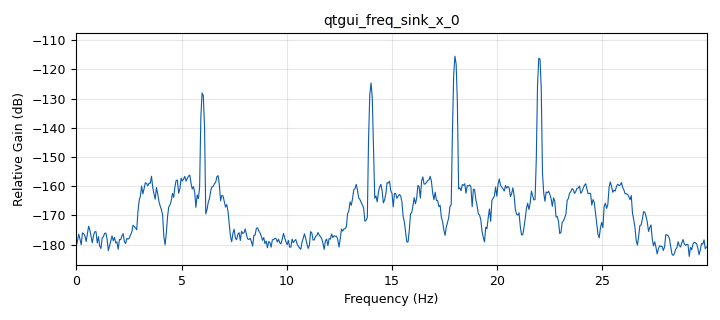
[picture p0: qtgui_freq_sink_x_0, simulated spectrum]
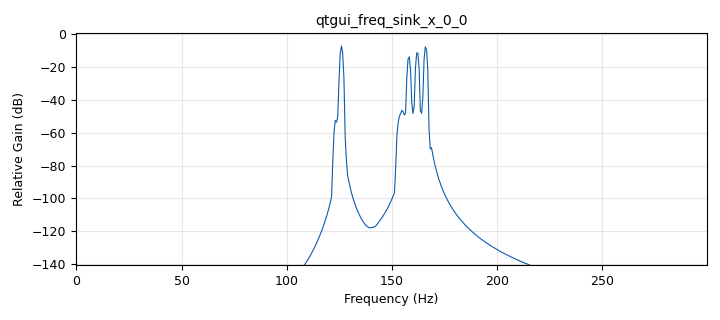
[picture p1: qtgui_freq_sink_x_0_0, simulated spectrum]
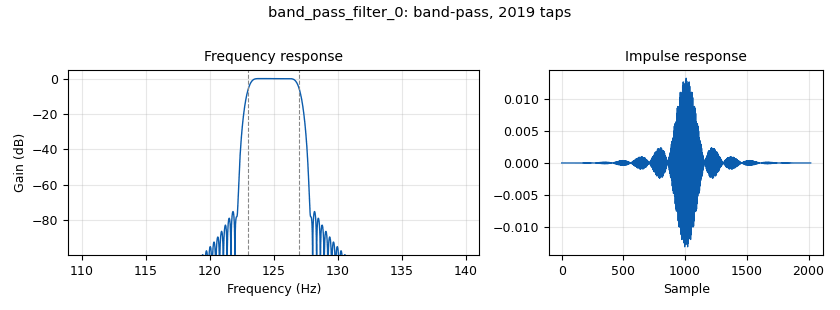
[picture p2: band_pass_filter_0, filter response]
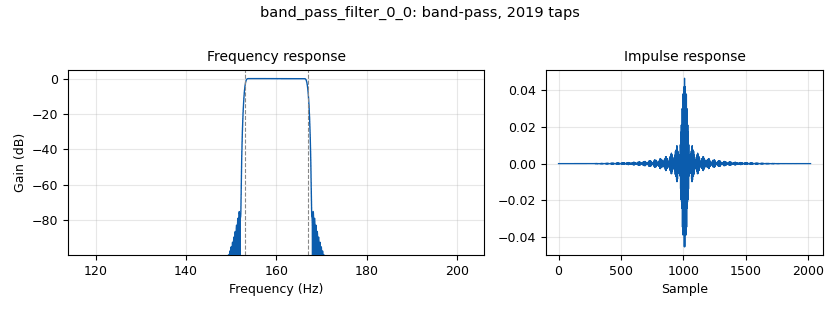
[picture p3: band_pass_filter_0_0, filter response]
<?xml version='1.0' encoding='utf-8'?>
<?grc format='1' created='3.7.13'?>
<flow_graph>
<block>
<key>options</key>
<param><key>id</key><value>top_block</value></param>
<param><key>generate_options</key><value>qt_gui</value></param>
</block>
<block>
<key>variable</key>
<param><key>id</key><value>new_fs</value></param>
<param><key>value</key><value>60</value></param>
</block>
<block>
<key>variable</key>
<param><key>id</key><value>samp_rate</value></param>
<param><key>value</key><value>600</value></param>
</block>
<block>
<key>analog_fastnoise_source_x</key>
<param><key>id</key><value>analog_fastnoise_source_x_0</value></param>
<param><key>amp</key><value>0.3</value></param>
<param><key>noise_type</key><value>analog.GR_GAUSSIAN</value></param>
<param><key>type</key><value>float</value></param>
<param><key>seed</key><value>0</value></param>
<param><key>samples</key><value>8192</value></param>
</block>
<block>
<key>analog_fastnoise_source_x</key>
<param><key>id</key><value>analog_fastnoise_source_x_0_0</value></param>
<param><key>amp</key><value>0.3</value></param>
<param><key>noise_type</key><value>analog.GR_GAUSSIAN</value></param>
<param><key>type</key><value>float</value></param>
<param><key>seed</key><value>0</value></param>
<param><key>samples</key><value>8192</value></param>
</block>
<block>
<key>analog_sig_source_x</key>
<param><key>id</key><value>analog_sig_source_x_0</value></param>
<param><key>amp</key><value>2</value></param>
<param><key>freq</key><value>166</value></param>
<param><key>offset</key><value>0</value></param>
<param><key>type</key><value>float</value></param>
<param><key>samp_rate</key><value>samp_rate</value></param>
<param><key>waveform</key><value>analog.GR_COS_WAVE</value></param>
</block>
<block>
<key>analog_sig_source_x</key>
<param><key>id</key><value>analog_sig_source_x_0_0</value></param>
<param><key>amp</key><value>2</value></param>
<param><key>freq</key><value>126</value></param>
<param><key>offset</key><value>0</value></param>
<param><key>type</key><value>float</value></param>
<param><key>samp_rate</key><value>samp_rate</value></param>
<param><key>waveform</key><value>analog.GR_COS_WAVE</value></param>
</block>
<block>
<key>analog_sig_source_x</key>
<param><key>id</key><value>analog_sig_source_x_0_1</value></param>
<param><key>amp</key><value>1.4</value></param>
<param><key>freq</key><value>162</value></param>
<param><key>offset</key><value>0</value></param>
<param><key>type</key><value>float</value></param>
<param><key>samp_rate</key><value>samp_rate</value></param>
<param><key>waveform</key><value>analog.GR_COS_WAVE</value></param>
</block>
<block>
<key>analog_sig_source_x</key>
<param><key>id</key><value>analog_sig_source_x_0_1_0</value></param>
<param><key>amp</key><value>1</value></param>
<param><key>freq</key><value>158</value></param>
<param><key>offset</key><value>0</value></param>
<param><key>type</key><value>float</value></param>
<param><key>samp_rate</key><value>samp_rate</value></param>
<param><key>waveform</key><value>analog.GR_COS_WAVE</value></param>
</block>
<block>
<key>band_pass_filter</key>
<param><key>id</key><value>band_pass_filter_0</value></param>
<param><key>decim</key><value>1</value></param>
<param><key>type</key><value>fir_filter_fff</value></param>
<param><key>gain</key><value>1</value></param>
<param><key>high_cutoff_freq</key><value>127</value></param>
<param><key>low_cutoff_freq</key><value>123</value></param>
<param><key>samp_rate</key><value>samp_rate</value></param>
<param><key>width</key><value>1</value></param>
<param><key>win</key><value>firdes.WIN_BLACKMAN</value></param>
</block>
<block>
<key>band_pass_filter</key>
<param><key>id</key><value>band_pass_filter_0_0</value></param>
<param><key>decim</key><value>1</value></param>
<param><key>type</key><value>fir_filter_fff</value></param>
<param><key>gain</key><value>1</value></param>
<param><key>high_cutoff_freq</key><value>167</value></param>
<param><key>low_cutoff_freq</key><value>153</value></param>
<param><key>samp_rate</key><value>samp_rate</value></param>
<param><key>width</key><value>1</value></param>
<param><key>win</key><value>firdes.WIN_BLACKMAN</value></param>
</block>
<block>
<key>blocks_add_xx</key>
<param><key>id</key><value>blocks_add_xx_0</value></param>
<param><key>type</key><value>float</value></param>
</block>
<block>
<key>blocks_add_xx</key>
<param><key>id</key><value>blocks_add_xx_0_0</value></param>
<param><key>type</key><value>float</value></param>
<param><key>num_inputs</key><value>4</value></param>
</block>
<block>
<key>blocks_add_xx</key>
<param><key>id</key><value>blocks_add_xx_0_0_0</value></param>
<param><key>type</key><value>float</value></param>
</block>
<block>
<key>qtgui_freq_sink_x</key>
<param><key>id</key><value>qtgui_freq_sink_x_0</value></param>
<param><key>autoscale</key><value>True</value></param>
<param><key>average</key><value>0.2</value></param>
<param><key>bw</key><value>new_fs</value></param>
<param><key>fc</key><value>0</value></param>
<param><key>fftsize</key><value>1024</value></param>
<param><key>showports</key><value>True</value></param>
<param><key>freqhalf</key><value>False</value></param>
<param><key>type</key><value>float</value></param>
<param><key>wintype</key><value>firdes.WIN_BLACKMAN</value></param>
</block>
<block>
<key>qtgui_freq_sink_x</key>
<param><key>id</key><value>qtgui_freq_sink_x_0_0</value></param>
<param><key>autoscale</key><value>True</value></param>
<param><key>average</key><value>0.2</value></param>
<param><key>bw</key><value>samp_rate</value></param>
<param><key>fc</key><value>0</value></param>
<param><key>fftsize</key><value>1024</value></param>
<param><key>showports</key><value>True</value></param>
<param><key>freqhalf</key><value>False</value></param>
<param><key>type</key><value>float</value></param>
<param><key>wintype</key><value>firdes.WIN_BLACKMAN</value></param>
</block>
<block>
<key>rational_resampler_xxx</key>
<param><key>id</key><value>rational_resampler_xxx_0</value></param>
<param><key>decim</key><value>10</value></param>
<param><key>interp</key><value>1</value></param>
<param><key>taps</key><value></value></param>
<param><key>type</key><value>fff</value></param>
</block>
<connection><source_block_id>analog_fastnoise_source_x_0</source_block_id><sink_block_id>blocks_add_xx_0_0_0</sink_block_id><source_key>0</source_key><sink_key>0</sink_key></connection>
<connection><source_block_id>analog_fastnoise_source_x_0_0</source_block_id><sink_block_id>blocks_add_xx_0_0</sink_block_id><source_key>0</source_key><sink_key>0</sink_key></connection>
<connection><source_block_id>analog_sig_source_x_0</source_block_id><sink_block_id>blocks_add_xx_0_0</sink_block_id><source_key>0</source_key><sink_key>1</sink_key></connection>
<connection><source_block_id>analog_sig_source_x_0_0</source_block_id><sink_block_id>blocks_add_xx_0_0_0</sink_block_id><source_key>0</source_key><sink_key>1</sink_key></connection>
<connection><source_block_id>analog_sig_source_x_0_1</source_block_id><sink_block_id>blocks_add_xx_0_0</sink_block_id><source_key>0</source_key><sink_key>2</sink_key></connection>
<connection><source_block_id>analog_sig_source_x_0_1_0</source_block_id><sink_block_id>blocks_add_xx_0_0</sink_block_id><source_key>0</source_key><sink_key>3</sink_key></connection>
<connection><source_block_id>band_pass_filter_0</source_block_id><sink_block_id>blocks_add_xx_0</sink_block_id><source_key>0</source_key><sink_key>1</sink_key></connection>
<connection><source_block_id>band_pass_filter_0_0</source_block_id><sink_block_id>blocks_add_xx_0</sink_block_id><source_key>0</source_key><sink_key>0</sink_key></connection>
<connection><source_block_id>blocks_add_xx_0</source_block_id><sink_block_id>qtgui_freq_sink_x_0_0</sink_block_id><source_key>0</source_key><sink_key>0</sink_key></connection>
<connection><source_block_id>blocks_add_xx_0</source_block_id><sink_block_id>rational_resampler_xxx_0</sink_block_id><source_key>0</source_key><sink_key>0</sink_key></connection>
<connection><source_block_id>blocks_add_xx_0_0</source_block_id><sink_block_id>band_pass_filter_0_0</sink_block_id><source_key>0</source_key><sink_key>0</sink_key></connection>
<connection><source_block_id>blocks_add_xx_0_0_0</source_block_id><sink_block_id>band_pass_filter_0</sink_block_id><source_key>0</source_key><sink_key>0</sink_key></connection>
<connection><source_block_id>rational_resampler_xxx_0</source_block_id><sink_block_id>qtgui_freq_sink_x_0</sink_block_id><source_key>0</source_key><sink_key>0</sink_key></connection>
</flow_graph>
